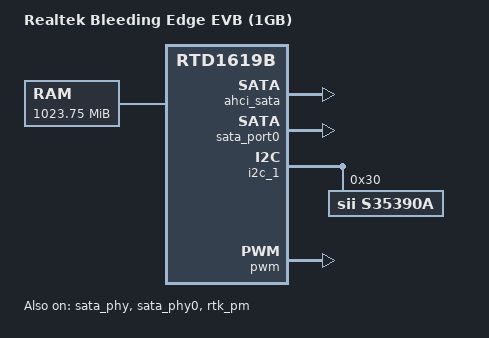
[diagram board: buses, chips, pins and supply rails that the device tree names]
// SPDX-License-Identifier: (GPL-2.0-or-later OR BSD-2-Clause)
/*
 * Copyright (c) 2020 Realtek Semiconductor Corp.
 */

/dts-v1/;

#include "rtd1619b-bleedingedge.dtsi"

/ {
	compatible = "realtek,bleeding-edge", "realtek,rtd1619b";
	model = "Realtek Bleeding Edge EVB (1GB)";

	memory@4000 {
		device_type = "memory";
		reg = <0x00040000 0x3ffc0000>; /* 1 GiB */
	};
};

&pcie1 {
	status = "disabled";
};

&pcie2 {
	status = "disabled";
};

&sata_phy {
	status = "okay";
};

&sata_phy0 {
	tx-drv = <0x40ab2001>, <0x40ab6001>, <0x40aba001>,
	         <0x12601a01>, <0x12605a01>, <0x126b9a01>;
	status = "okay";
};

&ahci_sata {
	hostinit-mode = <1>;
	status = "okay";
};

&sata_port0 {
	status = "okay";
};

&rtk_pm {
	wakeup-flags = <(LAN | GPIO | RTC | TIMER | CEC)>;
	wakeup-gpio-list = <26 GPIO_WAKEUP_ENABLE GPIO_WAKEUP_ACTIVE_HIGH>;
	wakeup-timer = <0>;
	status = "okay";
};

&i2c_1 {
	s35390a: s35390a@30 {
		 status = "ok";
		 compatible = "sii,s35390a";
		 reg = <0x30>;
	 };

};

&protected_mem {
	status = "disabled";
};

&rpc_comm {
	status = "disabled";
};

&rpc_ringbuf {
	status = "disabled";
};

&video_fw_ve3 {
	status = "disabled";
};

&audio_heap {
	status = "disabled";
};

&media_heap {
	status = "disabled";
};

&cma_resrved_1 {
	status = "disabled";
};

&cma_resrved_2 {
	status = "disabled";
};

&cma_resrved_3 {
	status = "disabled";
};

&cma_resrved_4 {
	status = "disabled";
};

&cma_resrved_5 {
	status = "disabled";
};

&cma_resrved_6 {
	status = "disabled";
};

&cma_resrved_7 {
	status = "disabled";
};

&cma_resrved_8 {
	status = "disabled";
};

&cma_resrved_9 {
	status = "disabled";
};

&rtk_ion {
	status = "disabled";
};

&tee {
	status = "disabled";
};

&hifi {
	status = "disabled";
};

&nic {
	led-cfg = <0x1700042F>;
	eee = <0>; /* 0: disable, 1: enable */
};

&rpc {
	status = "disabled";
};

&rtk_fw_pm {
	status = "disabled";
};

&reserved_memory {
       ramoops@22000000  {
               compatible = "ramoops";
               reg = <0x22000000 0x00200000>;
               console-size = <0x00100000>;
               record-size = <0x00004000>;
               ftrace-size = <0x00004000>;
       };
};
&iso {
	pwm: pwm@d0 {
		pwm_1 {
			enable = <1>;
			clkout_div = <0xff>;
			clksrc_div = <0xf>;
			duty_rate = <50>; /* HW active low */
		};
		pwm_2 {
			enable = <1>;
			clkout_div = <0xff>;
			clksrc_div = <0xf>;
			duty_rate = <100>; /* HW active low */
		};
	};
};
&pwm {
        pinctrl-names = "default";
        pinctrl-0 = <&pwm1_0_pins>,
                    <&pwm2_0_pins>;
        status = "okay";
};
